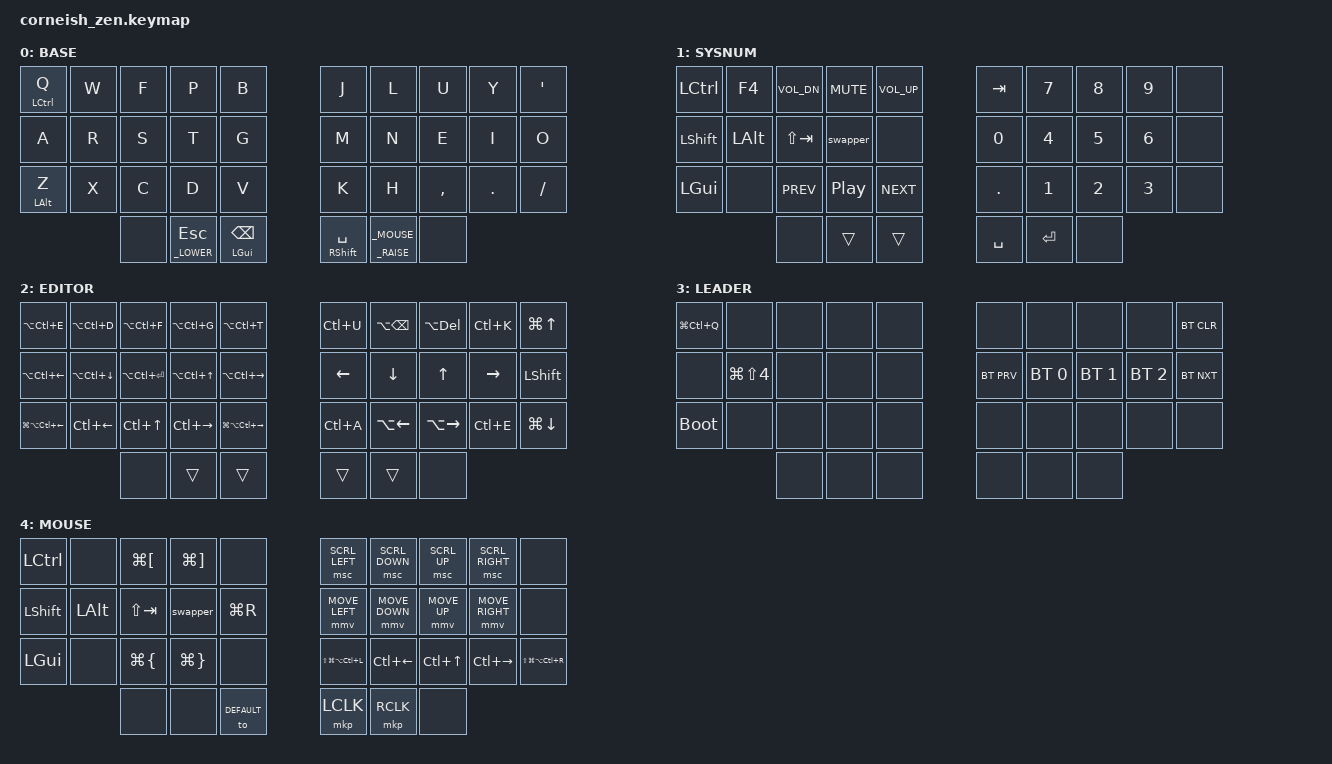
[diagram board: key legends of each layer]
#include <behaviors.dtsi>
#include <dt-bindings/zmk/keys.h>
#include <dt-bindings/zmk/bt.h>
#include "mouse.dtsi"

/ {
  chosen {
    zmk,matrix_transform = &five_column_transform;
  };
};

// define layers
#define _DEFAULT 0  // Colemak Dhm
#define _LOWER 1
#define _RAISE 2
#define _STICKY 3
#define _MOUSE 4

// configure hold tap settings
&lt {
    flavor = "hold-preferred";
};

&mt {
    tapping-term-ms = <150>;  // slightly faster to reduce wait before cmd click
};

&sl {
    release-after-ms = <500>;  // basically leader timeout equivalent
};

// new behaviors for shift tap and mod on alphas
// lmt: https://zmk.dev/docs/behaviors/hold-tap#example-use-cases based on toggle on tap, momentary on hold layers
/ {
    behaviors {
        st: shift_tap {
            compatible = "zmk,behavior-hold-tap";
            label = "SHIFT_TAP";
            #binding-cells = <2>;
            flavor = "tap-preferred";
            tapping-term-ms = <120>;
            bindings = <&kp>, <&kp>;
        };
        am: alpha_mod {
            compatible = "zmk,behavior-hold-tap";
            label = "ALPHA_MOD";
            #binding-cells = <2>;
            flavor = "balanced";
            tapping-term-ms = <150>;
            bindings = <&kp>, <&kp>;
            retro-tap;
        };
        lmt: layer_mo_to {
            compatible = "zmk,behavior-hold-tap";
            label = "l_mo_to";
            #binding-cells = <2>;
            flavor = "hold-preferred";
            tapping-term-ms = <200>;
            bindings = <&mo>, <&to>;
        };
        // Swapper for smart alt+tab
        swapper: swapper {
            compatible = "zmk,behavior-tri-state";
            #binding-cells = <0>;
            bindings = <&kt LGUI>, <&kp TAB>, <&kt LGUI>;
            ignored-key-positions = <12>;
        };
    };
};

// Combos
// TODO: pull this into a separate import as in https://github.com/AlaaSaadAbdo/zmk-config

#define COMBO_TERM 25

/* Key index
 0  1  2  3  4         5  6  7  8  9
10 11 12 13 14        15 16 17 18 19
20 21 22 23 24        25 26 27 28 29
        30 31 32    33 34 35         */

/ {
    combos {
        compatible = "zmk,combos";
        combo_grave {
            timeout-ms = <COMBO_TERM>;
            key-positions = <0 1>;
            bindings = <&kp GRAVE>;
        };
        combo_rbkt {
            timeout-ms = <COMBO_TERM>;
            key-positions = <1 2>;
            bindings = <&kp RBKT>;
        };
        combo_lbkt {
            timeout-ms = <COMBO_TERM>;
            key-positions = <2 3>;
            bindings = <&kp LBKT>;
        };
        combo_tilde {
            timeout-ms = <COMBO_TERM>;
            key-positions = <10 11>;
            bindings = <&kp TILDE>;
        };
        combo_rpar {
            timeout-ms = <COMBO_TERM>;
            key-positions = <11 12>;
            bindings = <&kp RPAR>;
        };
        combo_lpar {
            timeout-ms = <COMBO_TERM>;
            key-positions = <12 13>;
            bindings = <&kp LPAR>;
        };
        combo_leader {
            timeout-ms = <COMBO_TERM>;
            key-positions = <20 21>;
            bindings = <&sl _STICKY>;
        };
        combo_rbrc {
            timeout-ms = <COMBO_TERM>;
            key-positions = <21 22>;
            bindings = <&kp RBRC>;
        };
        combo_lbrc {
            timeout-ms = <COMBO_TERM>;
            key-positions = <22 23>;
            bindings = <&kp LBRC>;
        };

        combo_equal {
            timeout-ms = <COMBO_TERM>;
            key-positions = <6 7>;
            bindings = <&kp EQUAL>;
        };
        combo_plus {
            timeout-ms = <COMBO_TERM>;
            key-positions = <7 8>;
            bindings = <&kp PLUS>;
        };
        combo_semi {
            timeout-ms = <COMBO_TERM>;
            key-positions = <8 9>;
            bindings = <&kp SEMI>;
        };
        combo_minus {
            timeout-ms = <COMBO_TERM>;
            key-positions = <16 17>;
            bindings = <&kp MINUS>;
        };
        combo_under {
            timeout-ms = <COMBO_TERM>;
            key-positions = <17 18>;
            bindings = <&kp UNDER>;
        };
        combo_colon {
            timeout-ms = <COMBO_TERM>;
            key-positions = <18 19>;
            bindings = <&kp COLON>;
        };
        combo_bslh {
            timeout-ms = <COMBO_TERM>;
            key-positions = <26 27>;
            bindings = <&kp BSLH>;
        };
        combo_pipe {
            timeout-ms = <COMBO_TERM>;
            key-positions = <27 28>;
            bindings = <&kp PIPE>;
        };
        combo_cmdpal {
            timeout-ms = <COMBO_TERM>;
            key-positions = <28 29>;
            bindings = <&kp LG(LS(P))>;
        };

        combo_enter {
            timeout-ms = <COMBO_TERM>;
            key-positions = <16 18>;
            bindings = <&kp ENTER>;
        };
        combo_tab {
            timeout-ms = <COMBO_TERM>;
            key-positions = <11 13>;
            bindings = <&kp TAB>;
        };
        combo_del {
            timeout-ms = <COMBO_TERM>;
            key-positions = <3 4>;
            bindings = <&kp DEL>;
        };
    };
};

// define frequently used keyboard shortcuts

// OS stuff
#define EXPOSE  LC(UP)      // mission control (aka expose)
#define OS_LOCK LG(LC(Q))   // lock screen
#define SNIP    LG(LS(N4))  // screenshot portion of screen

// text editing: cursor movement, text deletion
#define MWL LA(LEFT)   // move cursor one word left
#define MWR LA(RIGHT)  // move cursor one word right
#define MLL LC(A)      // move cursor to beginning of line
#define MLR LC(E)      // move cursor to end of line
#define DWL LA(BSPC)   // delete one word left
#define DWR LA(DEL)    // delete one word right
#define DLL LC(U)      // delete to beginning of line
#define DLR LC(K)      // delete to end of line
#define BOD LG(UP)     // beginning of document
#define EOD LG(DOWN)   // end of document

// window management (OS native)
#define WK_L LC(LEFT)  // go to workspace left
#define WK_R LC(RIGHT) // go to workspace right

// window management (via rectangle)
#define SZ_L_13 LA(LC(D))      // resize window left 1/3
#define SZ_C_13 LA(LC(F))      // resize window center 1/3
#define SZ_R_13 LA(LC(G))      // resize window right 1/3
#define SZ_L_23 LA(LC(E))      // resize window left 2/3
#define SZ_R_23 LA(LC(T))      // resize window right 2/3
#define SZ_L_12 LA(LC(LEFT))   // resize window left 1/2
#define SZ_R_12 LA(LC(RIGHT))  // resize window right 1/2
#define SZ_U_12 LA(LC(UP))     // resize window up 1/2
#define SZ_D_12 LA(LC(DOWN))   // resize window down 1/2
#define SZ_MAX  LA(LC(ENTER))  // resize window maximize
#define THRW_L LG(LA(LC(LEFT)))   // throw to workspace left
#define THRW_R LG(LA(LC(RIGHT)))  // throw to workspace right

// cursor warp (via hammerspoon)
#define FCS_L LS(LG(LA(LC(L))))  // warp cursor to display left
#define FCS_R LS(LG(LA(LC(R))))  // warp cursor to display right

// cursor warp (via warpd)
#define WARPD LG(LA(C))  // normal (cursor) mode

// deprecated categories (mostly hammerspoon stuff):
    // hammerspoon: alerts, emoji finder, quick app shortcuts

/ {
    keymap {
        compatible = "zmk,keymap";

        default_layer {
            label = "BASE";
// -----------------------------------------------------------------------------------------
//      |  Q  |  W  |  F  |  P  |  B  |            |  J  |  L  |  U  |  Y  |  '  |
//      |  A  |  R  |  S  |  T  |  G  |            |  M  |  N  |  E  |  I  |  O  |
//      |  Z  |  X  |  C  |  D  |  V  |            |  K  |  H  |  ,  |  .  |  /  |
//           taps         | ESC | BSP |            | SPC | WARPD |
//           holds        | LWR | GUI |            | SFT |  RSE  |
            bindings = <
    &am LCTRL Q &kp W &kp F &kp P &kp B             &kp J &kp L  &kp U     &kp Y   &kp APOS
    &kp A       &kp R &kp S &kp T &kp G             &kp M &kp N  &kp E     &kp I   &kp O
    &am LALT Z  &kp X &kp C &kp D &kp V             &kp K &kp H  &kp COMMA &kp DOT &kp FSLH
    &none     &lt _LOWER ESC &mt LGUI BSPC     &st RSHIFT SPACE &lmt _RAISE _MOUSE &none
            >;
        };

        lower_layer {
            label = "SYSNUM";
            bindings = <
   &kp LCTRL  &kp F4   &kp C_VOL_DN  &kp K_MUTE  &kp C_VOL_UP     &kp TAB  &kp N7  &kp N8  &kp N9  &none
   &kp LSHIFT &kp LALT &kp LS(TAB)   &swapper    &none            &kp N0   &kp N4  &kp N5  &kp N6  &none
   &kp LGUI   &none    &kp C_PREV    &kp C_PP    &kp C_NEXT       &kp DOT  &kp N1  &kp N2  &kp N3  &none
                                &none  &trans  &trans             &kp SPACE  &kp ENTER &none
            >;
        };

        raise_layer {
            label = "EDITOR";
            bindings = <
   &kp SZ_L_23 &kp SZ_L_13 &kp SZ_C_13 &kp SZ_R_13 &kp SZ_R_23      &kp DLL  &kp DWL  &kp DWR &kp DLR   &kp BOD
   &kp SZ_L_12 &kp SZ_D_12 &kp SZ_MAX  &kp SZ_U_12 &kp SZ_R_12      &kp LEFT &kp DOWN &kp UP  &kp RIGHT &kp LSHIFT
   &kp THRW_L  &kp WK_L    &kp EXPOSE  &kp WK_R    &kp THRW_R       &kp MLL  &kp MWL  &kp MWR &kp MLR   &kp EOD
                                &none &trans  &trans                &trans   &trans    &none
            >;
        };

        sticky_layer {
            label = "LEADER";
            bindings = <
    &kp OS_LOCK  &none     &none  &none  &none      &none  &none  &none  &none  &bt BT_CLR
    &none        &kp SNIP  &none  &none  &none      &bt BT_PRV &bt BT_SEL 0 &bt BT_SEL 1 &bt BT_SEL 2 &bt BT_NXT
    &bootloader  &none     &none  &none  &none      &none  &none  &none  &none  &none
                           &none  &none  &none      &none  &none  &none
            >;
        };

        mouse_layer {
            // other stuff in here:  browser forward/back?, tab cycle, swapper? page refresh? esc, cut, copy, paste?
            label = "MOUSE";
            bindings = <
    &kp LCTRL  &none     &kp LG(LBKT)  &kp LG(RBKT)  &none      &msc SCRL_LEFT  &msc SCRL_DOWN  &msc SCRL_UP  &msc SCRL_RIGHT  &none
    &kp LSHIFT &kp LALT  &kp LS(TAB)   &swapper    &kp LG(R)    &mmv MOVE_LEFT  &mmv MOVE_DOWN  &mmv MOVE_UP  &mmv MOVE_RIGHT  &none
    &kp LGUI   &none     &kp LG(LBRC)  &kp LG(RBRC)  &none      &kp FCS_L  &kp WK_L  &kp EXPOSE  &kp WK_R  &kp FCS_R
                           &none  &none  &to _DEFAULT      &mkp LCLK  &mkp RCLK  &none
            >;
        };
    };
};
